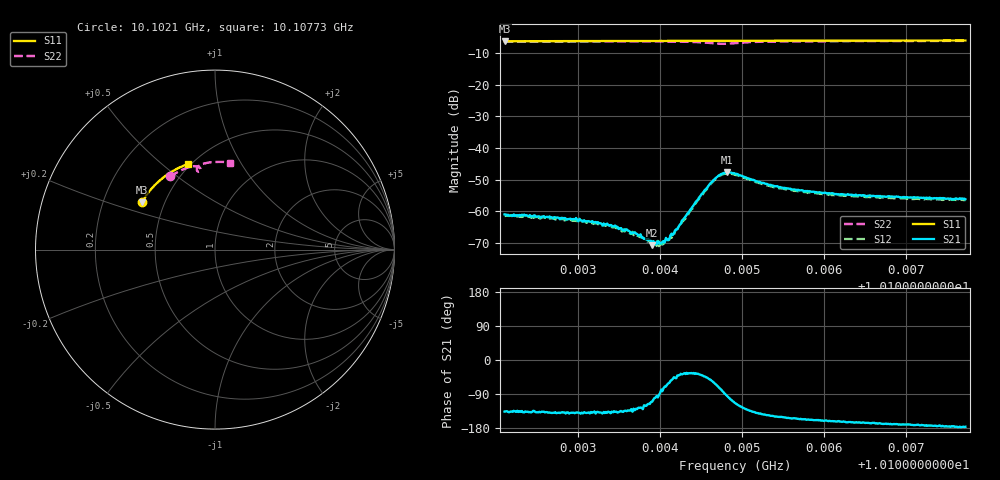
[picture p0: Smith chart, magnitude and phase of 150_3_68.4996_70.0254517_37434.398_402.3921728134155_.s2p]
#  HZ  S  RI  R  50.00
! Rohde & Schwarz Vector Network Analyzer
! Rohde-Schwarz,ZNB20-2Port,1311601062101988,3.16
! Created: UTC 3/20/2024, 4:55:15 PM
! freq[Hz]  re:S11  im:S11  re:S21  im:S21  re:S12  im:S12  re:S22  im:S22
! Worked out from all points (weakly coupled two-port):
!   401 points, 10.1021 GHz to 10.10773 GHz, reference 50 ohm
!   highest |S21| = -47.64 dB at 10.10482 GHz (marker M1); lowest = -70.7 dB at 10.1039 GHz (marker M2)
!   lowest |S11| = -6.3 dB at 10.1021 GHz (marker M3), VSWR 2.89, Z = 18.6 + j12.9 ohm
!   |S11| at or under -10 dB: nowhere
!   |S22| runs from -7.1 to -6.2 dB; largest |S21 - S12| = 0.00044
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1.0102104e10  -0.4075 0.264  -0.000646 -0.000622  -0.00055 -0.000646  -0.2491 0.4079
1.0102582e10  -0.3923 0.2888  -0.000608 -0.000583  -0.000552 -0.000584  -0.2225 0.4246
1.0103046e10  -0.3759 0.3117  -0.000539 -0.000471  -0.000486 -0.000495  -0.1954 0.439
1.0103468e10  -0.36 0.3319  -0.000413 -0.000394  -0.000372 -0.000393  -0.1692 0.4507
1.0103693e10  -0.3511 0.3422  -0.000316 -0.000345  -0.000263 -0.000355  -0.1543 0.4562
1.0103904e10  -0.3424 0.3515  -0.000101 -0.000272  -7.65e-05 -0.000299  -0.1394 0.4606
1.0103932e10  -0.3412 0.3528  -5.7e-05 -0.000306  -2.33e-05 -0.000306  -0.1375 0.4612
1.0103988e10  -0.339 0.3554  -1.22e-05 -0.000332  3.91e-05 -0.00028  -0.1331 0.4621
1.010403e10  -0.337 0.3572  4.48e-05 -0.000328  6.22e-05 -0.000292  -0.13 0.4628
1.0104087e10  -0.3347 0.3597  0.000152 -0.000327  0.000169 -0.00031  -0.1258 0.4637
1.0104143e10  -0.3323 0.3621  0.000269 -0.000356  0.000259 -0.000281  -0.1211 0.4642
1.0104185e10  -0.3305 0.364  0.000339 -0.000368  0.000359 -0.000329  -0.1175 0.4646
1.0104508e10  -0.316 0.3774  0.00143 -0.00121  0.00146 -0.000998  -0.0874 0.4586
1.0104649e10  -0.3099 0.3831  0.00165 -0.0026  0.00179 -0.00235  -0.0792 0.4442
1.0104733e10  -0.306 0.3864  0.000948 -0.00368  0.00124 -0.00344  -0.0838 0.4349
1.0104818e10  -0.3022 0.3896  -0.000344 -0.00414  5.23e-05 -0.00395  -0.094 0.4338
1.0104916e10  -0.2977 0.3934  -0.00158 -0.00364  -0.0012 -0.00361  -0.101 0.443
1.010538e10  -0.2756 0.4109  -0.00216 -0.00137  -0.00195 -0.00144  -0.0736 0.4748
1.0105858e10  -0.2518 0.4273  -0.0019 -0.00076  -0.00177 -0.000884  -0.039 0.4844
1.0106168e10  -0.2358 0.4372  -0.00176 -0.000574  -0.00164 -0.000714  -0.0177 0.4871
1.01068e10  -0.2021 0.4552  -0.0017 -0.000327  -0.00157 -0.000478  0.0242 0.489
1.0107729e10  -0.1501 0.4769  -0.00155 -9.94e-05  -0.0015 -0.000221  0.0843 0.4847
